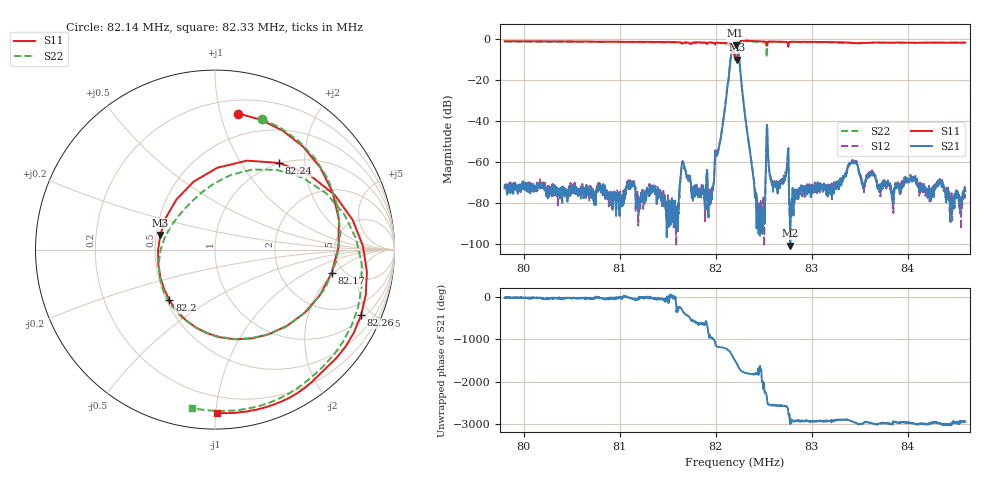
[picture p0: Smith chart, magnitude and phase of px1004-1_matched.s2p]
!PX1004-1 MATCHED
# HZ S RI R 50
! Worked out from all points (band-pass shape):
!   1601 points, 79.8 MHz to 84.6 MHz, reference 50 ohm
!   highest |S21| = -3.14 dB at 82.21 MHz (marker M1); lowest = -100.9 dB at 82.78 MHz (marker M2)
!   |S21| within 3 dB of the highest: 82.16483 MHz to 82.23588 MHz (71.05 kHz wide, 0.0864 % of centre)
!   lowest |S11| = -10.0 dB at 82.22 MHz (marker M3), VSWR 1.92, Z = 26.3 + j4.81 ohm
!   |S11| at or under -10 dB: 82.21711 MHz to 82.21813 MHz (1.023 kHz wide, 0.00124 % of centre)
!   |S22| runs from -11.2 to -0.9 dB; largest |S21 - S12| = 0.033
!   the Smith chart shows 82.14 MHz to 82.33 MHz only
!   S11 on the Smith chart (normalised r, x): 82.14 MHz: 0.31, +1.14; 82.17 MHz: 4.00, -1.88; 82.2 MHz: 0.52, -0.34; 82.24 MHz: 0.99, +1.50; 82.26 MHz: 1.21, -4.34; 82.33 MHz: 0.09, -1.01
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7.98e7  -0.3539 -0.8097  0.000218 -0.000104  0.000214 -2.08e-05  -0.4915 -0.7216
8.0601e7  -0.4724 -0.7299  0.000157 -0.000102  0.00012 -0.000117  -0.6068 -0.5996
8.1402e7  -0.6055 -0.5955  0.000172 -0.000133  0.00016 -0.00014  -0.7131 -0.4255
8.1591e7  -0.6616 -0.5233  8.15e-05 -1.8e-06  1.04e-05 5.01e-05  -0.7537 -0.3438
8.1663e7  -0.6272 -0.5104  0.000935 -3.79e-05  0.000973 2.2e-05  -0.7482 -0.2887
8.1945e7  -0.7689 -0.2937  -0.000107 0.000116  -7.08e-05 6.51e-05  -0.8021 -0.0755
8.2089e7  -0.7428 0.2802  -0.00861 -0.0128  -0.00958 -0.0136  -0.6436 0.4734
8.2143e7  0.1304 0.7579  -0.1756 0.0662  -0.1729 0.0799  0.261 0.7288
8.2167e7  0.6494 -0.132  0.1642 0.4961  0.1559 0.4803  0.6147 -0.214
8.22e7  -0.2158 -0.3379  0.3664 -0.59  0.3953 -0.5977  -0.3134 -0.073
8.2203e7  -0.2539 -0.2826  0.2474 -0.6504  0.2725 -0.6681  -0.3035 -0.00136
8.2206e7  -0.2825 -0.2223  0.1176 -0.6862  0.1349 -0.7123  -0.2811 0.0634
8.2218e7  -0.3049 0.0823  -0.4173 -0.5431  -0.4439 -0.5625  -0.1276 0.2689
8.2236e7  0.358 0.4829  -0.4216 0.2513  -0.3996 0.2687  0.4888 0.4002
8.2257e7  0.8136 -0.366  0.0435 0.148  0.0353 0.1406  0.7592 -0.4269
8.2326e7  0.0117 -0.911  0.00559 -9.58e-05  0.00572 0.00031  -0.1298 -0.8821
8.2443e7  -0.3624 -0.8033  4.65e-05 8.7e-05  6.89e-05 -1.26e-05  -0.524 -0.6833
8.2545e7  -0.4255 -0.7523  0.00139 -0.000228  0.00137 -0.000227  -0.4576 -0.6879
8.2776e7  -0.5474 -0.6602  8.4e-06 3.2e-06  2.7e-05 8.1e-06  -0.6971 -0.4761
8.3001e7  -0.6381 -0.5634  0.000116 -0.000124  0.000176 -0.000165  -0.7476 -0.3751
8.3802e7  -0.7224 -0.3816  -2.13e-05 -0.000271  -3.54e-05 -0.000281  -0.7888 -0.1656
8.46e7  -0.7857 -0.2285  9.91e-05 -0.000167  6.83e-05 -0.000163  -0.8083 0.0113
